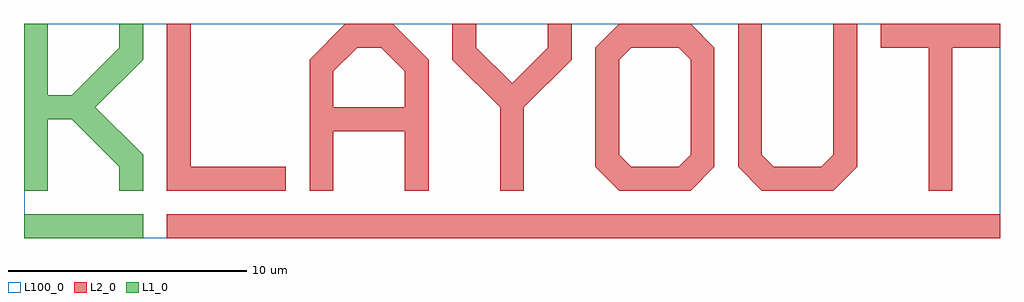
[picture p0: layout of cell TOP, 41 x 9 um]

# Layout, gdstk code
import gdstk
lib = gdstk.Library(unit=1e-6, precision=1e-09)
def R(c, l, rs):  # rectangles x0, y0, x1, y1
    for r in rs: c.add(gdstk.rectangle(r[:2], r[2:], *l))
def P(c, l, *ps):  # polygons
    for p in ps: c.add(gdstk.Polygon(p, *l))
L1_0 = (1, 0)
L2_0 = (2, 0)
L100_0 = (100, 0)

text = lib.new_cell('TEXT')
P(text, L1_0, [(0,0),(0,0.7),(0.1,0.7),(0.1,0.4),(0.2,0.4),(0.4,0.6),(0.4,0.7),(0.5,0.7),(0.5,0.55),(0.3,0.35),(0.5,0.15),(0.5,0),(0.4,0),(0.4,0.1),(0.2,0.3),(0.1,0.3),(0.1,0)])

text_3 = lib.new_cell('TEXT$3')
P(text_3, L2_0, [(0,0),(0,0.7),(0.1,0.7),(0.1,0.1),(0.5,0.1),(0.5,0)],
  [(0.6,0),(0.6,0.55),(0.75,0.7),(0.95,0.7),(1.05,0.6),(0.8,0.6),(0.7,0.5),(0.7,0.35),(1,0.35),(1,0.5),(0.9,0.6),(1.05,0.6),(1.1,0.55),(1.1,0),(1,0),(1,0.25),(0.7,0.25),(0.7,0)],
  [(1.4,0),(1.4,0.35),(1.2,0.55),(1.2,0.7),(1.3,0.7),(1.3,0.6),(1.45,0.45),(1.6,0.6),(1.6,0.7),(1.7,0.7),(1.7,0.55),(1.5,0.35),(1.5,0)],
  [(1.9,0),(1.8,0.1),(1.8,0.6),(1.9,0.7),(2.2,0.7),(2.3,0.6),(2.3,0.35),(2.2,0.35),(2.2,0.55),(2.15,0.6),(1.95,0.6),(1.9,0.55),(1.9,0.15),(1.95,0.1),(2.15,0.1),(2.2,0.15),(2.2,0.35),(2.3,0.35),(2.3,0.1),(2.2,0)],
  [(2.5,0),(2.4,0.1),(2.4,0.7),(2.5,0.7),(2.5,0.15),(2.55,0.1),(2.75,0.1),(2.8,0.15),(2.8,0.7),(2.9,0.7),(2.9,0.1),(2.8,0)],
  [(3.2,0),(3.2,0.6),(3,0.6),(3,0.7),(3.5,0.7),(3.5,0.6),(3.3,0.6),(3.3,0)])

top = lib.new_cell('TOP')
R(top, L1_0, [(1,1,6,2)])
R(top, L2_0, [(7,1,42,2)])
R(top, L100_0, [(1,1,42,10)])
top.add(gdstk.Reference(text, (1,3), magnification=10))
top.add(gdstk.Reference(text_3, (7,3), magnification=10))

lib.write_gds('TOP.gds')
